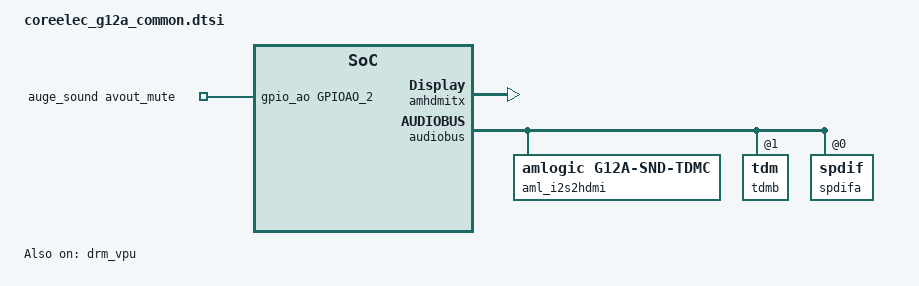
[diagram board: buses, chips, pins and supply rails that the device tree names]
#include "coreelec_common.dtsi"

/ {
	/delete-node/ ir@0xff808040;
	/delete-node/ optee;
	/delete-node/ power-domains@0xff62fcc0;

	amhdmitx: amhdmitx{
		status = "okay";
		vend_data: vend_data{ /* Should modified by Customer */
			product_desc = "G12A"; /* Max Chars: 16 */
		};
	};

	secmon {
		clear_range = <0x05100000 0x02a00000>;
	};

	gpioleds {
		/delete-node/ net_red;
		/delete-node/ net_green;
		/delete-node/ remote_led;
	};

	meson-ir {
		reg = <0x0 0xff808040 0x00 0x44>, /*Multi-format IR controller*/
			<0x0 0xff808000 0x00 0x20>; /*Legacy IR controller*/
		interrupts = <GIC_SPI 196 IRQ_TYPE_EDGE_RISING>;
	};

	meson-remote {
		reg = <0x0 0xff808040 0x00 0x44>, /*Multi-format IR controller*/
			<0x0 0xff808000 0x00 0x20>; /*Legacy IR controller*/
		interrupts = <GIC_SPI 196 IRQ_TYPE_EDGE_RISING>;
	};

	gpu:bifrost {
		compatible = "arm,mali-bifrost";
	};

	/delete-node/ auge_sound;
	auge_sound {
		compatible = "amlogic, auge-sound-card";
		aml-audio-card,name = "AML-AUGESOUND";

		/*avout mute gpio*/
		avout_mute-gpios = <&gpio_ao GPIOAO_2 GPIO_ACTIVE_HIGH>;

		aml-audio-card,dai-link@0 {
			mclk-fs = <128>;
			continuous-clock;
			cpu {
				system-clock-frequency = <6144000>;
				sound-dai = <&spdifb>;
			};
			codec {
				sound-dai = <&spdifb>;
			};
		};

		aml-audio-card,dai-link@1 {
			format = "i2s";
			mclk-fs = <256>;
			bitclock-master = <&tdmb>;
			frame-master = <&tdmb>;
			continuous-clock;
			cpu {
				dai-tdm-slot-tx-mask = <1 1>;
				dai-tdm-slot-rx-mask = <1 1>;
				dai-tdm-slot-num = <2>;
				dai-tdm-slot-width = <32>;
				system-clock-frequency = <12288000>;
				sound-dai = <&tdmb>;
			};
			codec {
				sound-dai = <&tdmb>;
			};
		};

		aml-audio-card,dai-link@2 {
			mclk-fs = <128>;
			continuous-clock;
			cpu {
				system-clock-frequency = <6144000>;
				sound-dai = <&spdifa>;
			};
			codec {
				sound-dai = <&spdifa>;
			};
		};

		aml-audio-card,dai-link@3 {
			format = "i2s";
			mclk-fs = <256>;
			bitclock-master = <&aml_i2s2hdmi>;
			frame-master = <&aml_i2s2hdmi>;
			continuous-clock;
			cpu {
				sound-dai = <&aml_i2s2hdmi>;
				dai-tdm-slot-tx-mask = <1 1>;
				dai-tdm-slot-rx-mask = <1 1>;
				dai-tdm-slot-num = <2>;
				dai-tdm-slot-width = <32>;
				system-clock-frequency = <12288000>;
			};
			codec {
				sound-dai = <&dummy_codec>;
			};
		};
	};

	soc {
		periphs: periphs@ff634400 {
			status = "okay";
		};
	};
};

&drm_vpu {
	status = "okay";
};

&audiobus {
	aml_i2s2hdmi: i2s2hdmi {
		compatible = "amlogic, g12a-snd-tdmc";
	};

	tdmb: tdm@1 {
		/delete-property/ start_clk_enable;
		/delete-property/ clk_tuning_enable;
	};

	spdifa: spdif@0 {
		pinctrl-0 = <&spdifout>;
		/delete-property/ clk_tuning_enable;
	};
};

&dwc2_a {
	controller-type = <3>;
};
